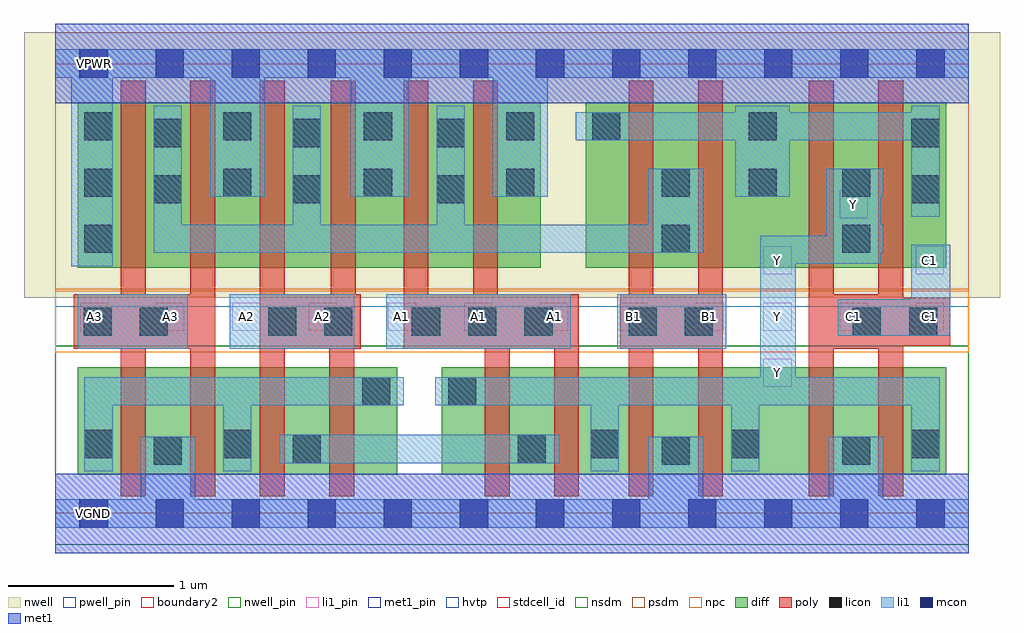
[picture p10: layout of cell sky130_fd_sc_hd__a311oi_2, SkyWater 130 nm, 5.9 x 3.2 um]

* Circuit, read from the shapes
.subckt sky130_fd_sc_hd__a311oi_2 A1 A2 A3 B1 C1 VGND VNB VPB VPWR Y
XM1 VGND A3 n1 VNB sky130_fd_pr__nfet_01v8 w=0.65 l=0.15 m=2
XM2 n2 A2 n1 VNB sky130_fd_pr__nfet_01v8 w=0.65 l=0.15 m=2
XM3 n2 A1 Y VNB sky130_fd_pr__nfet_01v8 w=0.65 l=0.15 m=2
XM4 VGND B1 Y VNB sky130_fd_pr__nfet_01v8 w=0.65 l=0.15 m=2
XM5 VGND C1 Y VNB sky130_fd_pr__nfet_01v8 w=0.65 l=0.15 m=2
XM6 n3 A3 VPWR VPB sky130_fd_pr__pfet_01v8_hvt w=1 l=0.15 m=2
XM7 n3 A2 VPWR VPB sky130_fd_pr__pfet_01v8_hvt w=1 l=0.15 m=2
XM8 n3 A1 VPWR VPB sky130_fd_pr__pfet_01v8_hvt w=1 l=0.15 m=2
XM9 n3 B1 n4 VPB sky130_fd_pr__pfet_01v8_hvt w=1 l=0.15 m=2
XM10 Y C1 n4 VPB sky130_fd_pr__pfet_01v8_hvt w=1 l=0.15 m=2
.ends

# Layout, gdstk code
import gdstk
lib = gdstk.Library(unit=1e-6, precision=1e-09)
def R(c, l, rs):  # rectangles x0, y0, x1, y1
    for r in rs: c.add(gdstk.rectangle(r[:2], r[2:], *l))
def A(c, l, x, y, w, h, nx, ny, dx, dy):  # array of equal rectangles
    R(c, l, [(x+i*dx, y+j*dy, x+i*dx+w, y+j*dy+h) for i in range(nx) for j in range(ny)])
def P(c, l, *ps):  # polygons
    for p in ps: c.add(gdstk.Polygon(p, *l))
nwell_pin = (64, 16)
nwell = (64, 20)
diff = (65, 20)
poly = (66, 20)
licon = (66, 44)
li1_pin = (67, 16)
li1 = (67, 20)
mcon = (67, 44)
met1_pin = (68, 16)
met1 = (68, 20)
hvtp = (78, 44)
stdcell_id = (81, 4)
nsdm = (93, 44)
psdm = (94, 20)
npc = (95, 20)
pwell_pin = (122, 16)
boundary2 = (236, 0)

sky130_fd_sc_hd__a311oi_ = lib.new_cell('sky130_fd_sc_hd__a311oi_2')
R(sky130_fd_sc_hd__a311oi_, nwell_pin, [(0.15,2.635,0.32,2.805)])
R(sky130_fd_sc_hd__a311oi_, nwell, [(-0.19,1.305,5.71,2.91)])
R(sky130_fd_sc_hd__a311oi_, diff, [(0.135,0.235,2.065,0.885), (2.335,0.235,5.385,0.885), (0.135,1.485,2.935,2.485), (3.205,1.485,5.385,2.485)])
R(sky130_fd_sc_hd__a311oi_, poly, [(5.125,1.015,5.41,1.025), (5.125,1.295,5.41,1.305)])
P(sky130_fd_sc_hd__a311oi_, poly, [(3.465,0.105),(3.465,0.995),(3.415,0.995),(3.415,1.325),(3.465,1.325),(3.465,2.615),(3.615,2.615),(3.615,1.325),(3.885,1.325),(3.885,2.615),(4.035,2.615),(4.035,0.105),(3.885,0.105),(3.885,0.995),(3.615,0.995),(3.615,0.105)],
  [(2.595,0.105),(2.595,0.995),(2.105,0.995),(2.105,2.615),(2.255,2.615),(2.255,1.325),(2.525,1.325),(2.525,2.615),(2.675,2.615),(2.675,1.325),(3.165,1.325),(3.165,0.105),(3.015,0.105),(3.015,0.995),(2.745,0.995),(2.745,0.105)],
  [(1.235,0.105),(1.235,2.615),(1.385,2.615),(1.385,1.325),(1.665,1.325),(1.665,2.615),(1.815,2.615),(1.815,1.325),(1.845,1.325),(1.845,0.995),(1.805,0.995),(1.805,0.105),(1.655,0.105),(1.655,0.995),(1.385,0.995),(1.385,0.105)],
  [(0.395,0.105),(0.395,0.995),(0.11,0.995),(0.11,1.325),(0.395,1.325),(0.395,2.615),(0.545,2.615),(0.545,1.325),(0.815,1.325),(0.815,2.615),(0.965,2.615),(0.965,0.105),(0.815,0.105),(0.815,0.995),(0.545,0.995),(0.545,0.105)],
  [(4.555,0.105),(4.555,2.615),(4.705,2.615),(4.705,1.325),(4.975,1.325),(4.975,2.615),(5.125,2.615),(5.125,1.295),(5.41,1.295),(5.41,1.025),(5.125,1.025),(5.125,0.105),(4.975,0.105),(4.975,0.995),(4.705,0.995),(4.705,0.105)])
A(sky130_fd_sc_hd__a311oi_, licon, 2.155, 1.075, 0.17, 0.17, 3, 1, 0.34, 0)
A(sky130_fd_sc_hd__a311oi_, licon, 0.175, 1.575, 0.17, 0.17, 1, 3, 0, 0.34)
R(sky130_fd_sc_hd__a311oi_, licon, [(0.595,0.295,0.765,0.465), (3.665,0.295,3.835,0.465), (4.755,0.295,4.925,0.465), (1.435,0.305,1.605,0.475), (2.795,0.305,2.965,0.475), (0.175,0.335,0.345,0.505), (1.015,0.335,1.185,0.505), (3.235,0.335,3.405,0.505), (4.085,0.335,4.255,0.505), (5.175,0.335,5.345,0.505), (1.855,0.655,2.025,0.825), (2.375,0.655,2.545,0.825), (0.17,1.075,0.34,1.245), (0.51,1.075,0.68,1.245), (1.285,1.075,1.455,1.245), (1.625,1.075,1.795,1.245), (3.465,1.075,3.635,1.245), (3.805,1.075,3.975,1.245), (4.82,1.075,4.99,1.245), (5.16,1.075,5.33,1.245), (3.665,1.575,3.835,1.745), (4.755,1.575,4.925,1.745), (0.595,1.875,0.765,2.045), (1.435,1.875,1.605,2.045), (2.305,1.875,2.475,2.045), (5.175,1.875,5.345,2.045), (1.015,1.915,1.185,2.085), (1.865,1.915,2.035,2.085), (2.725,1.915,2.895,2.085), (3.665,1.915,3.835,2.085), (4.19,1.915,4.36,2.085), (4.755,1.915,4.925,2.085), (0.595,2.215,0.765,2.385), (1.435,2.215,1.605,2.385), (2.305,2.215,2.475,2.385), (5.175,2.215,5.345,2.385), (1.015,2.255,1.185,2.425), (1.865,2.255,2.035,2.425), (2.725,2.255,2.895,2.425), (3.245,2.255,3.415,2.425), (4.19,2.255,4.36,2.425)])
A(sky130_fd_sc_hd__a311oi_, li1_pin, 0.15, 1.105, 0.17, 0.17, 4, 1, 0.46, 0)
A(sky130_fd_sc_hd__a311oi_, li1_pin, 2.01, 1.105, 0.17, 0.17, 3, 1, 0.46, 0)
A(sky130_fd_sc_hd__a311oi_, li1_pin, 4.28, 1.105, 0.17, 0.17, 3, 1, 0.46, 0)
R(sky130_fd_sc_hd__a311oi_, li1_pin, [(4.28,0.765,4.45,0.935), (3.41,1.105,3.58,1.275), (3.87,1.105,4.04,1.275), (4.28,1.445,4.45,1.615), (5.2,1.445,5.37,1.615), (4.74,1.785,4.91,1.955)])
R(sky130_fd_sc_hd__a311oi_, li1, [(1.355,0.305,3.045,0.475), (0.135,0.995,0.8,1.325), (1.055,0.995,1.805,1.325), (2,0.995,3.115,1.325), (3.395,0.995,4.055,1.325)])
P(sky130_fd_sc_hd__a311oi_, li1, [(0,-0.085),(0,0.085),(0.515,0.085),(0.515,0.465),(0.845,0.465),(0.845,0.085),(3.585,0.085),(3.585,0.465),(3.915,0.465),(3.915,0.085),(4.675,0.085),(4.675,0.465),(5.005,0.465),(5.005,0.085),(5.52,0.085),(5.52,-0.085)],
  [(0.095,1.495),(0.095,2.635),(0,2.635),(0,2.805),(5.52,2.805),(5.52,2.635),(2.975,2.635),(2.975,1.915),(2.645,1.915),(2.645,2.635),(2.135,2.635),(2.135,1.915),(1.785,1.915),(1.785,2.635),(1.265,2.635),(1.265,1.915),(0.935,1.915),(0.935,2.635),(0.345,2.635),(0.345,1.495)],
  [(4.73,1.075),(4.73,1.295),(5.175,1.295),(5.175,1.625),(5.41,1.625),(5.41,1.075)],
  [(3.235,0.255),(3.235,0.655),(2.295,0.655),(2.295,0.825),(4.26,0.825),(4.26,1.68),(4.66,1.68),(4.66,2.085),(5.005,2.085),(5.005,1.915),(4.99,1.915),(4.99,1.745),(5.005,1.745),(5.005,1.575),(4.99,1.575),(4.99,1.51),(4.475,1.51),(4.475,0.825),(5.345,0.825),(5.345,0.255),(5.175,0.255),(5.175,0.655),(4.255,0.655),(4.255,0.255),(4.085,0.255),(4.085,0.655),(3.405,0.655),(3.405,0.255)],
  [(5.175,1.795),(5.175,2.255),(4.44,2.255),(4.44,1.915),(4.11,1.915),(4.11,2.255),(3.145,2.255),(3.145,2.425),(4.11,2.425),(4.11,2.465),(4.44,2.465),(4.44,2.425),(5.175,2.425),(5.175,2.465),(5.345,2.465),(5.345,1.795)],
  [(0.595,1.575),(0.595,2.465),(0.765,2.465),(0.765,1.745),(1.435,1.745),(1.435,2.465),(1.605,2.465),(1.605,1.745),(2.305,1.745),(2.305,2.465),(2.475,2.465),(2.475,1.745),(3.585,1.745),(3.585,2.085),(3.915,2.085),(3.915,1.575)],
  [(0.175,0.255),(0.175,0.825),(2.105,0.825),(2.105,0.655),(1.185,0.655),(1.185,0.255),(1.015,0.255),(1.015,0.655),(0.345,0.655),(0.345,0.255)])
A(sky130_fd_sc_hd__a311oi_, mcon, 0.145, -0.085, 0.17, 0.17, 12, 2, 0.46, 2.72)
R(sky130_fd_sc_hd__a311oi_, met1_pin, [(0.15,-0.085,0.32,0.085), (0.15,2.635,0.32,2.805)])
R(sky130_fd_sc_hd__a311oi_, hvtp, [(0,1.25,5.52,2.72)])
R(sky130_fd_sc_hd__a311oi_, stdcell_id, [(0,0,5.52,2.72)])
R(sky130_fd_sc_hd__a311oi_, nsdm, [(0,-0.19,5.52,1.015)])
R(sky130_fd_sc_hd__a311oi_, psdm, [(0,1.355,5.52,2.91)])
R(sky130_fd_sc_hd__a311oi_, npc, [(0,0.975,5.52,1.345)])
R(sky130_fd_sc_hd__a311oi_, pwell_pin, [(0.15,-0.085,0.32,0.085)])
R(sky130_fd_sc_hd__a311oi_, boundary2, [(0,0,5.52,2.72)])
sky130_fd_sc_hd__a311oi_.add(gdstk.FlexPath([(0,2.72),(5.52,2.72)], 0.48, ends="flush", simple_path=True, layer=68, datatype=20))  # met1
sky130_fd_sc_hd__a311oi_.add(gdstk.FlexPath([(0,0),(5.52,0)], 0.48, ends="flush", simple_path=True, layer=68, datatype=20))  # met1
sky130_fd_sc_hd__a311oi_.add(gdstk.Label('C1', (4.825,1.19), layer=67, texttype=5))
sky130_fd_sc_hd__a311oi_.add(gdstk.Label('C1', (5.285,1.19), layer=67, texttype=5))
sky130_fd_sc_hd__a311oi_.add(gdstk.Label('A3', (0.235,1.19), layer=67, texttype=5))
sky130_fd_sc_hd__a311oi_.add(gdstk.Label('Y', (4.365,1.19), layer=67, texttype=5))
sky130_fd_sc_hd__a311oi_.add(gdstk.Label('Y', (4.365,1.53), layer=67, texttype=5))
sky130_fd_sc_hd__a311oi_.add(gdstk.Label('Y', (4.825,1.87), layer=67, texttype=5))
sky130_fd_sc_hd__a311oi_.add(gdstk.Label('B1', (3.955,1.19), layer=67, texttype=5))
sky130_fd_sc_hd__a311oi_.add(gdstk.Label('C1', (5.285,1.53), layer=67, texttype=5))
sky130_fd_sc_hd__a311oi_.add(gdstk.Label('A1', (2.555,1.19), layer=67, texttype=5))
sky130_fd_sc_hd__a311oi_.add(gdstk.Label('A1', (3.015,1.19), layer=67, texttype=5))
sky130_fd_sc_hd__a311oi_.add(gdstk.Label('A1', (2.095,1.19), layer=67, texttype=5))
sky130_fd_sc_hd__a311oi_.add(gdstk.Label('A2', (1.155,1.19), layer=67, texttype=5))
sky130_fd_sc_hd__a311oi_.add(gdstk.Label('A3', (0.695,1.19), layer=67, texttype=5))
sky130_fd_sc_hd__a311oi_.add(gdstk.Label('Y', (4.365,0.85), layer=67, texttype=5))
sky130_fd_sc_hd__a311oi_.add(gdstk.Label('B1', (3.495,1.19), layer=67, texttype=5))
sky130_fd_sc_hd__a311oi_.add(gdstk.Label('A2', (1.615,1.19), layer=67, texttype=5))
sky130_fd_sc_hd__a311oi_.add(gdstk.Label('VGND', (0.23,0), layer=68, texttype=5))
sky130_fd_sc_hd__a311oi_.add(gdstk.Label('VPWR', (0.235,2.72), layer=68, texttype=5))
sky130_fd_sc_hd__a311oi_.add(gdstk.Label('VPB', (0.235,2.72), layer=64, texttype=5))
sky130_fd_sc_hd__a311oi_.add(gdstk.Label('VNB', (0.235,0), layer=64, texttype=59))
sky130_fd_sc_hd__a311oi_.add(gdstk.Label('a311oi_2', (0,0), layer=83, texttype=44))

lib.write_gds('sky130_fd_sc_hd__a311oi_2.gds')
